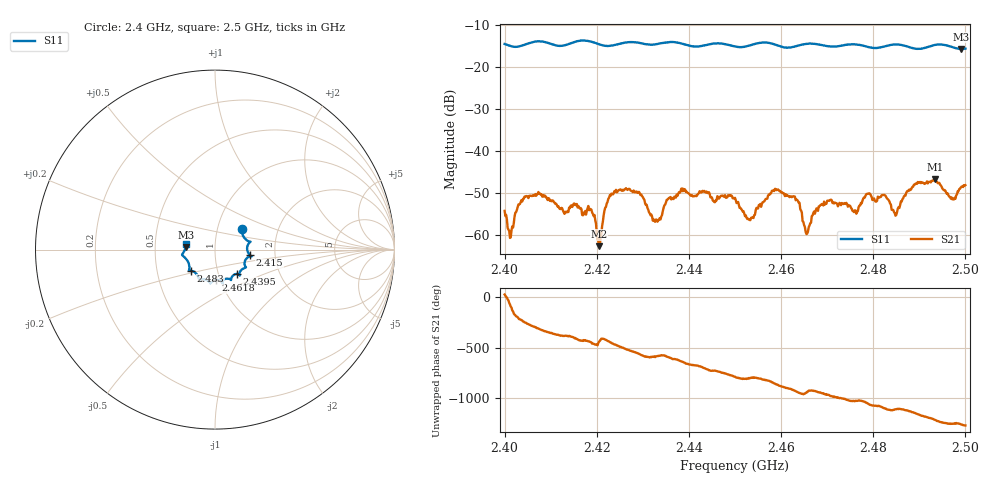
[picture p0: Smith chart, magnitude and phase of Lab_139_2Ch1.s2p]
# Hz S RI R 50
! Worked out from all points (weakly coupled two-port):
!   601 points, 2.4 GHz to 2.5 GHz, reference 50 ohm
!   highest |S21| = -46.70 dB at 2.4935 GHz (marker M1); lowest = -62.7 dB at 2.4205 GHz (marker M2)
!   lowest |S11| = -15.7 dB at 2.499 GHz (marker M3), VSWR 1.39, Z = 35.9 + j1.13 ohm
!   |S11| at or under -10 dB: start of sweep to end of sweep
!   S12 and S22 are empty: the file has one direction only
!   S11 on the Smith chart (normalised r, x): 2.4 GHz: 1.31, +0.31; 2.415 GHz: 1.48, -0.10; 2.4395 GHz: 1.23, -0.34; 2.4618 GHz: 0.95, -0.33; 2.483 GHz: 0.74, -0.18; 2.5 GHz: 0.72, +0.05
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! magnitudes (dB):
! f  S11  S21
! 2.4 GHz  -14.5  -54.3
! 2.4013 GHz  -15.0  -60.6
! 2.4045 GHz  -14.6  -50.9
! 2.415 GHz  -14.1  -52.6
! 2.4167 GHz  -13.7  -53.8
! 2.419 GHz  -14.0  -54.7
! 2.4205 GHz  -14.5  -62.7
! 2.4223 GHz  -15.0  -52.2
! 2.4247 GHz  -14.5  -49.4
! 2.4333 GHz  -14.4  -56.6
! 2.4395 GHz  -14.7  -49.7
! 2.45 GHz  -15.1  -51.2
! 2.4532 GHz  -14.8  -56.5
! 2.4585 GHz  -14.6  -49.5
! 2.4618 GHz  -15.3  -51.0
! 2.4655 GHz  -14.5  -59.8
! 2.4667 GHz  -14.4  -55.5
! 2.483 GHz  -14.9  -51.3
! 2.4833 GHz  -14.8  -51.7
! 2.4935 GHz  -14.7  -46.7
! 2.499 GHz  -15.7  -48.7
! 2.5 GHz  -15.6  -48.1
